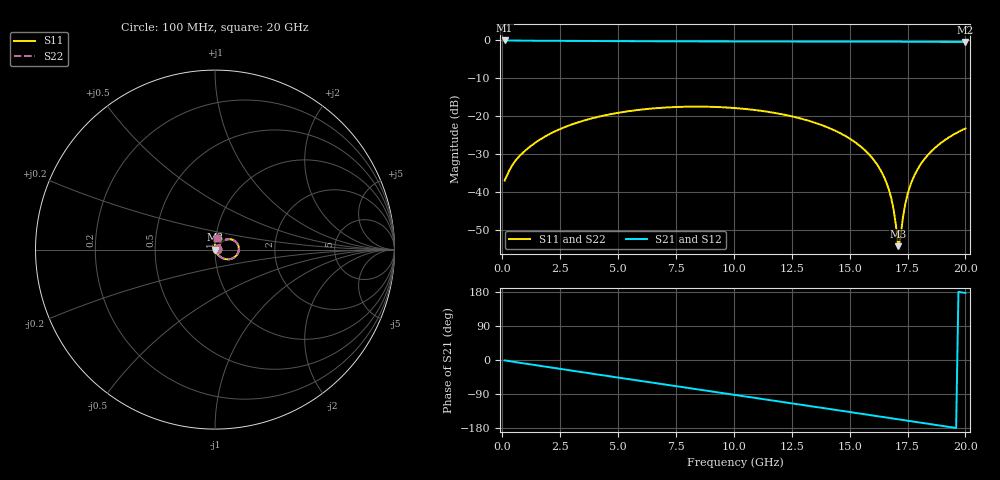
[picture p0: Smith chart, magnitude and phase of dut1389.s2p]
! Touchstone file exported from HFSS 2026.1.0
!  File:  C:/ffzhzh/LocalFiles/Ansys_Project_Files/temp_train_TSV_RDL_1389_1783349504_46376.aedt
!  Generated:  11:01:17 PM Jul  6, 2026
!  Design:  TSV_RDL
!  Project:  temp_train_TSV_RDL_1389_1783349504_46376
! Variables:
!  h_bsmrdl = 5.71um
!  h_ox = 20um
!  h_rdl = 5um
!  h_sub = 73.03um
!  h_tmrdl = 2.24um
!  h_tsv = 73.03um
!  h_via = 3um
!  l_bsmrdl = 280.22um
!  l_sub = 2967.28um
!  l_tmrdl = 396.42um
!  m_sub = 200um
!  pitch = 34.25um
!  r_tsv = 12.22um
!  s_tmrdl = 10um
!  w_bsmrdl = 20.59um
!  w_sub = 500um
!  w_tmrdl = 26.39um
!  x_tsv_center1 = 409.615um
!  x_tsv_center2 = 710.425um
!  x_tsv_center3 = 1133.235um
!  x_tsv_center4 = 1434.045um
!  x_tsv_center5 = 1856.855um
!  x_tsv_center6 = 2157.665um
# GHz S MA R 50.000000
! Terminal data exported
! Port[1] = TM_RDL1_1_T1
! Port[2] = TM_RDL5_1_T1
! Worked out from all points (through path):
!   200 points, 100 MHz to 20 GHz, reference 50 ohm
!   highest |S21| = -0.12 dB at 100 MHz (marker M1); lowest = -0.5 dB at 20 GHz (marker M2)
!   group delay of S21, straight-line fit = 25.3 ps
!   lowest |S11| = -54.2 dB at 17.1 GHz (marker M3), VSWR 1.00, Z = 50.2 - j0.0193 ohm
!   |S11| at or under -10 dB: start of sweep to end of sweep
!   |S22| runs from -53.7 to -17.5 dB; largest |S21 - S12| = 8.8e-14
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0.1  0.01415 16.3  0.9865 -1.0  0.9865 -1.0  0.01415 16.3
! Gamma 0 0 0 0
! Port Impedance 50 0 50 0
0.6  0.0266 41.6  0.9818 -5.9  0.9818 -5.9  0.0266 41.6
1.3  0.04186 47.9  0.9784 -12.4  0.9784 -12.4  0.04186 47.9
2.3  0.0634 47.2  0.9748 -21.6  0.9748 -21.6  0.0634 47.2
3.5  0.08682 40.8  0.9706 -32.6  0.9706 -32.6  0.08682 40.8
6.8  0.1281 15.9  0.961 -62.7  0.961 -62.7  0.128 16.0
10.1  0.1271 -11.7  0.9563 -92.6  0.9563 -92.6  0.127 -11.7
11.7  0.1108 -25.4  0.9554 -107.1  0.9554 -107.1  0.1108 -25.4
13.4  0.08363 -40.0  0.9548 -122.6  0.9548 -122.6  0.08362 -39.9
14.7  0.05726 -50.9  0.9539 -134.5  0.9539 -134.5  0.05725 -50.8
15.6  0.03692 -57.9  0.9528 -142.7  0.9528 -142.7  0.03692 -57.7
16.3  0.02032 -61.9  0.9517 -149.2  0.9517 -149.2  0.02032 -61.5
16.7  0.01068 -60.8  0.951 -152.9  0.951 -152.9  0.01069 -60.1
16.9  0.005912 -54.5  0.9506 -154.7  0.9506 -154.7  0.005938 -53.3
17  0.003653 -43.5  0.9504 -155.6  0.9504 -155.6  0.003704 -41.8
17.1  0.001945 -5.7  0.9502 -156.5  0.9502 -156.5  0.002054 -4.1
17.2  0.002513 59.0  0.9499 -157.4  0.9499 -157.4  0.002611 57.4
17.3  0.00458 80.9  0.9497 -158.4  0.9497 -158.4  0.004641 79.6
17.5  0.009313 91.2  0.9492 -160.2  0.9492 -160.2  0.00935 90.5
17.9  0.01907 93.4  0.9482 -163.9  0.9482 -163.9  0.01909 93.0
18.7  0.03849 89.0  0.946 -171.2  0.946 -171.2  0.03851 88.9
20  0.06862 78.7  0.9418 176.9  0.9418 176.9  0.06864 78.6
